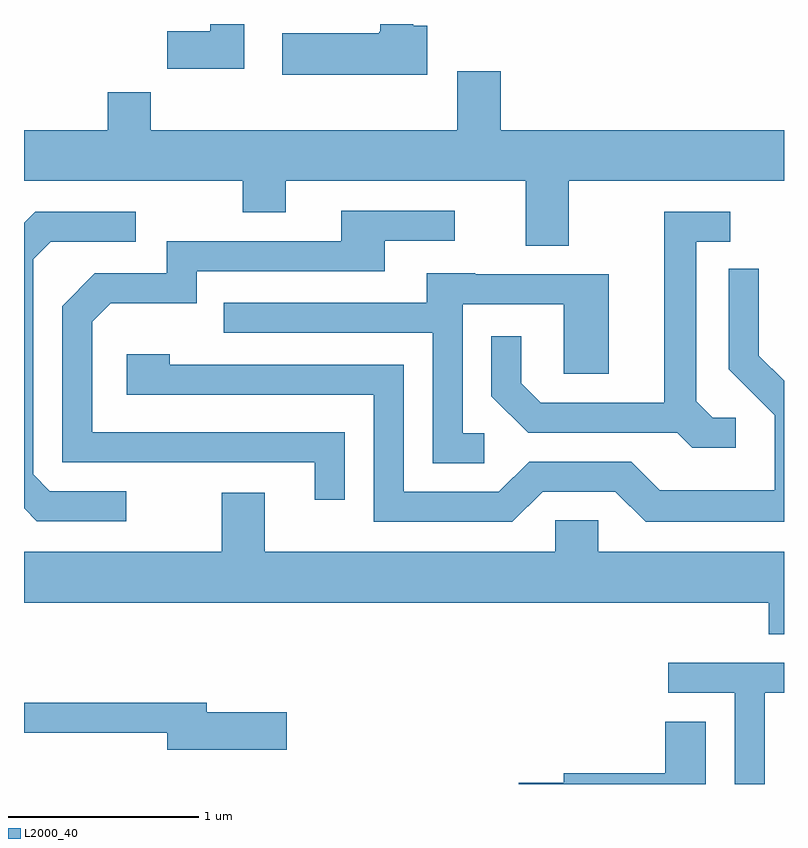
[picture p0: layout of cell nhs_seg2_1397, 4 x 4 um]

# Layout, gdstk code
import gdstk
lib = gdstk.Library(unit=1e-6, precision=1e-09)
def P(c, l, *ps):  # polygons
    for p in ps: c.add(gdstk.Polygon(p, *l))
L2000_40 = (2000, 40)

nhs_seg2_1397 = lib.new_cell('nhs_seg2_1397')
P(nhs_seg2_1397, L2000_40, [(227.734,1055.794),(227.659,1055.794),(227.659,1055.802),(227.486,1055.802),(227.486,1055.76),(227.48,1055.76),(227.48,1055.754),(226.971,1055.754),(226.971,1055.536),(227.734,1055.536)],
  [(226.769,1055.802),(226.591,1055.802),(226.591,1055.764),(226.366,1055.764),(226.366,1055.566),(226.769,1055.566)],
  [(228.479,1054.976),(229.611,1054.976),(229.611,1055.244),(228.119,1055.244),(228.119,1055.554),(227.891,1055.554),(227.891,1055.244),(226.279,1055.244),(226.279,1055.444),(226.051,1055.444),(226.051,1055.244),(225.611,1055.244),(225.611,1054.976),(226.761,1054.976),(226.761,1054.811),(226.989,1054.811),(226.989,1054.976),(228.251,1054.976),(228.251,1054.636),(228.479,1054.636)],
  [(227.299,1053.654),(225.969,1053.654),(225.969,1054.234),(226.067,1054.331),(226.519,1054.331),(226.519,1054.501),(227.509,1054.501),(227.509,1054.661),(227.878,1054.661),(227.878,1054.819),(227.281,1054.819),(227.281,1054.659),(226.361,1054.659),(226.361,1054.489),(225.984,1054.489),(225.811,1054.317),(225.811,1053.496),(227.141,1053.496),(227.141,1053.298),(227.299,1053.298)],
  [(226.148,1053.344),(225.747,1053.344),(225.659,1053.432),(225.659,1054.564),(225.752,1054.656),(226.198,1054.656),(226.198,1054.814),(225.669,1054.814),(225.611,1054.756),(225.611,1053.254),(225.679,1053.186),(226.148,1053.186)],
  [(229.358,1053.729),(229.237,1053.729),(229.149,1053.817),(229.149,1054.656),(229.328,1054.656),(229.328,1054.814),(228.981,1054.814),(228.981,1053.809),(228.332,1053.809),(228.229,1053.912),(228.229,1054.158),(228.071,1054.158),(228.071,1053.844),(228.264,1053.651),(229.049,1053.651),(229.129,1053.571),(229.358,1053.571)],
  [(228.342,1053.341),(228.724,1053.341),(228.884,1053.181),(229.611,1053.181),(229.611,1053.925),(229.479,1054.057),(229.479,1054.513),(229.321,1054.513),(229.321,1053.984),(229.561,1053.744),(229.561,1053.349),(228.957,1053.349),(228.807,1053.499),(228.269,1053.499),(228.109,1053.339),(227.609,1053.339),(227.609,1054.009),(226.379,1054.009),(226.379,1054.064),(226.151,1054.064),(226.151,1053.851),(227.451,1053.851),(227.451,1053.181),(228.182,1053.181)],
  [(228.033,1053.649),(227.919,1053.649),(227.919,1054.326),(228.451,1054.326),(228.451,1053.961),(228.689,1053.961),(228.689,1054.484),(227.985,1054.484),(227.985,1054.489),(227.731,1054.489),(227.731,1054.334),(226.663,1054.334),(226.663,1054.176),(227.761,1054.176),(227.761,1053.491),(228.033,1053.491)],
  [(229.531,1052.591),(229.611,1052.591),(229.611,1053.024),(228.634,1053.024),(228.634,1053.189),(228.406,1053.189),(228.406,1053.024),(226.879,1053.024),(226.879,1053.334),(226.651,1053.334),(226.651,1053.024),(225.611,1053.024),(225.611,1052.756),(229.531,1052.756)],
  [(229.509,1052.281),(229.611,1052.281),(229.611,1052.439),(229.003,1052.439),(229.003,1052.281),(229.351,1052.281),(229.351,1051.802),(229.509,1051.802)],
  [(226.994,1052.179),(226.574,1052.179),(226.574,1052.229),(225.611,1052.229),(225.611,1052.071),(226.366,1052.071),(226.366,1051.981),(226.994,1051.981)],
  [(229.199,1052.129),(228.986,1052.129),(228.986,1051.859),(228.451,1051.859),(228.451,1051.809),(228.216,1051.809),(228.216,1051.802),(229.199,1051.802)])

lib.write_gds('nhs_seg2_1397.gds')
